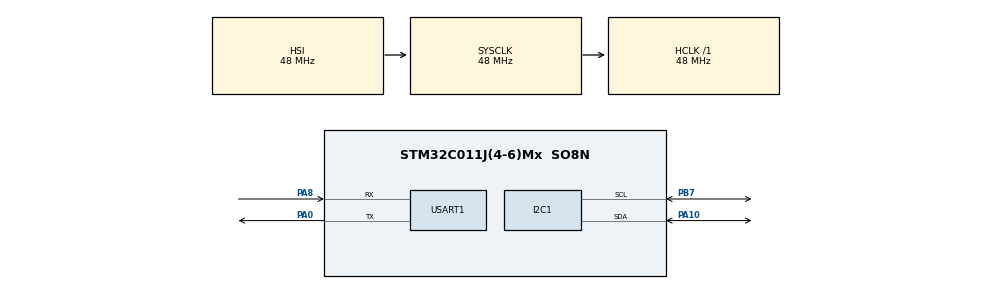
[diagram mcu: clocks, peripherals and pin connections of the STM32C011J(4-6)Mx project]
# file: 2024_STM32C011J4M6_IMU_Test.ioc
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I2C1.Timing=0x20303E5D
Mcu.Family=STM32C0
Mcu.Name=STM32C011J(4-6)Mx
Mcu.Package=SO8N
PA0.Mode=Asynchronous
PA0.Signal=USART1_TX
PA10\ [PA12].GPIO_Pu=GPIO_PULLUP
PA10\ [PA12].Mode=I2C
PA10\ [PA12].Signal=I2C1_SDA
PA13.Mode=Serial_Wire
PA13.Signal=DEBUG_SWDIO
PA14-BOOT0.Mode=Serial_Wire
PA14-BOOT0.Signal=DEBUG_SWCLK
PA8.Mode=Asynchronous
PA8.Signal=USART1_RX
PA8__PA11\ [PA9].StandardMode=true
PB7.GPIO_Pu=GPIO_PULLUP
PB7.Mode=I2C
PB7.Signal=I2C1_SCL
PC14-OSCX_IN\ (PC14)__PB7.StandardMode=true
PC15-OSCX_OUT\ (PC15)__PA14-BOOT0__PB6.StandardMode=true
PF2-NRST__PA0__PA1__PA2.StandardMode=true
ProjectManager.HeapSize=0x200
ProjectManager.StackSize=0x400
ProjectManager.TargetToolchain=STM32CubeIDE
RCC.ADCFreq_Value=48000000
RCC.AHBFreq_Value=48000000
RCC.CortexFreq_Value=48000000
RCC.EXTERNAL_CLOCK_VALUE=12288000
RCC.HCLKFreq_Value=48000000
RCC.HSE_VALUE=8000000
RCC.HSISYSCLKDivider=RCC_HSI_DIV1
RCC.HSI_VALUE=48000000
RCC.LSE_VALUE=32768
RCC.SYSCLKFreq_VALUE=48000000
USART1.DMADisableonRxErrorParam=ADVFEATURE_DMA_ENABLEONRXERROR
USART1.OverrunDisableParam=ADVFEATURE_OVERRUN_ENABLE
USART1.SwapParam=ADVFEATURE_SWAP_DISABLE
USART1.VirtualMode-Asynchronous=VM_ASYNC
VP_SYS_VS_PINREMAP_10_12.Mode=PINREMAP_10_12
board=custom

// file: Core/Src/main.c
/* USER CODE BEGIN Header */
/**
  ******************************************************************************
  * @file           : main.c
  * @brief          : Main program body
  ******************************************************************************
  * @attention
  *
  * Copyright (c) 2024 STMicroelectronics.
  * All rights reserved.
  *
  * This software is licensed under terms that can be found in the LICENSE file
  * in the root directory of this software component.
  * If no LICENSE file comes with this software, it is provided AS-IS.
  *
  ******************************************************************************
  */
/* USER CODE END Header */
#include "main.h"

/* USER CODE BEGIN Includes */
#include "ICM42605_Driver.h"
#include "stdio.h"  // for sprintf
/* USER CODE END Includes */

I2C_HandleTypeDef hi2c1;

UART_HandleTypeDef huart1;

/* USER CODE BEGIN PV */

/* IMU Variables */
uint8_t gData;
HAL_StatusTypeDef _gStatus;

uint8_t gRawData[14];

typedef struct
{
	uint16_t gTemp;
	uint16_t gAccel_X;
	uint16_t gAccel_Y;
	uint16_t gAccel_Z;
	uint16_t gGyro_X;
	uint16_t gGyro_Y;
	uint16_t gGyro_Z;
}RawData_Def;

RawData_Def gRawData_t;

/* ------------------- */

/* UART Variables */
#define BUFFER_SIZE 40
char gUART_MSG[BUFFER_SIZE];
int gSprintf_Len;
/* ------------------- */

/* USER CODE END PV */

void SystemClock_Config(void);
static void MX_GPIO_Init(void);
static void MX_USART1_UART_Init(void);
static void MX_I2C1_Init(void);

int main(void)
{

  /* MCU Configuration--------------------------------------------------------*/

  /* Reset of all peripherals, Initializes the Flash interface and the Systick. */
  HAL_Init();

  /* Configure the system clock */
  SystemClock_Config();

  /* Initialize all configured peripherals */
  MX_GPIO_Init();
  MX_USART1_UART_Init();
  MX_I2C1_Init();
  /* USER CODE BEGIN 2 */

  // ICM42605 Init
  if(HAL_I2C_IsDeviceReady(&hi2c1, (ICM42605_ADDRESS<<1), 1, 100) == HAL_OK) {
	  gSprintf_Len = sprintf(gUART_MSG, "IMU ON\r\n");
	  HAL_UART_Transmit(&huart1, (uint8_t *)gUART_MSG, gSprintf_Len, HAL_MAX_DELAY);
  }

  // Read Device ID
  HAL_I2C_Mem_Read(&hi2c1, (ICM42605_ADDRESS<<1), ICM42605_WHO_AM_I, 1, &gData, 1, 100);

  // Follow Procedure from Page 56
  // Turn Off Accel and Gyro
  gData = 0b00111111;
  _gStatus = HAL_I2C_Mem_Write(&hi2c1, (ICM42605_ADDRESS<<1), ICM42605_SENSOR_CONFIG0, 1, &gData, 1, 100);

  // Accel and Gyro Mode
  gData = 0b00001111;  // Low Noise Mode
  _gStatus = HAL_I2C_Mem_Write(&hi2c1, (ICM42605_ADDRESS<<1), ICM42605_PWR_MGMT0, 1, &gData, 1, 100);
  // minimum wait 200us (Page 73)
  HAL_Delay(1);

  // Enable data to FIFO
  gData = 0b01000111;
  _gStatus = HAL_I2C_Mem_Write(&hi2c1, (ICM42605_ADDRESS<<1), ICM42605_FIFO_CONFIG1, 1, &gData, 1, 100);

  // Turn On Accel and Gyro
  gData = 0b00000000;
  _gStatus = HAL_I2C_Mem_Write(&hi2c1, (ICM42605_ADDRESS<<1), ICM42605_SENSOR_CONFIG0, 1, &gData, 1, 100);

  /* USER CODE END 2 */

  /* Infinite loop */
  /* USER CODE BEGIN WHILE */
  while (1)
  {
	  HAL_I2C_Mem_Read(&hi2c1, (ICM42605_ADDRESS<<1), ICM42605_TEMP_DATA1, 1, gRawData, 14, 100);

	  gRawData_t.gTemp = (gRawData[0]<<8) | gRawData[1];  // Temp
	  gRawData_t.gAccel_X = (gRawData[2]<<8) | gRawData[3];  // Accel_X
	  gRawData_t.gAccel_Y = (gRawData[4]<<8) | gRawData[5];  // Accel_Y
	  gRawData_t.gAccel_Z = (gRawData[6]<<8) | gRawData[7];  // Accel_Z
	  gRawData_t.gGyro_X = (gRawData[8]<<8) | gRawData[9];  // Gyro_X
	  gRawData_t.gGyro_Y = (gRawData[10]<<8) | gRawData[11];  // Gyro_Y
	  gRawData_t.gGyro_Z = (gRawData[12]<<8) | gRawData[13];  // Gyro_Z

	  // Send Raw Data over UART
	  gSprintf_Len = sprintf(gUART_MSG, "%u,%u,%u,%u,%u,%u\r\n",
			  gRawData_t.gAccel_X, gRawData_t.gAccel_Y, gRawData_t.gAccel_Z,
			  gRawData_t.gGyro_X, gRawData_t.gGyro_Y, gRawData_t.gGyro_Z);

	  HAL_UART_Transmit(&huart1, (uint8_t *)gUART_MSG, gSprintf_Len, HAL_MAX_DELAY);

	  HAL_Delay(100);  // 100ms

    /* USER CODE END WHILE */

  }
}

void SystemClock_Config(void)
{
  RCC_OscInitTypeDef RCC_OscInitStruct = {0};
  RCC_ClkInitTypeDef RCC_ClkInitStruct = {0};

  /** Initializes the RCC Oscillators according to the specified parameters
  * in the RCC_OscInitTypeDef structure.
  */
  RCC_OscInitStruct.OscillatorType = RCC_OSCILLATORTYPE_HSI;
  RCC_OscInitStruct.HSIState = RCC_HSI_ON;
  RCC_OscInitStruct.HSIDiv = RCC_HSI_DIV1;
  RCC_OscInitStruct.HSICalibrationValue = RCC_HSICALIBRATION_DEFAULT;
  if (HAL_RCC_OscConfig(&RCC_OscInitStruct) != HAL_OK)
  {
    Error_Handler();
  }

  /** Initializes the CPU, AHB and APB buses clocks
  */
  RCC_ClkInitStruct.ClockType = RCC_CLOCKTYPE_HCLK|RCC_CLOCKTYPE_SYSCLK
                              |RCC_CLOCKTYPE_PCLK1;
  RCC_ClkInitStruct.SYSCLKSource = RCC_SYSCLKSOURCE_HSI;
  RCC_ClkInitStruct.SYSCLKDivider = RCC_SYSCLK_DIV1;
  RCC_ClkInitStruct.AHBCLKDivider = RCC_HCLK_DIV1;
  RCC_ClkInitStruct.APB1CLKDivider = RCC_APB1_DIV1;

  if (HAL_RCC_ClockConfig(&RCC_ClkInitStruct, FLASH_LATENCY_1) != HAL_OK)
  {
    Error_Handler();
  }
}

static void MX_I2C1_Init(void)
{

  hi2c1.Instance = I2C1;
  hi2c1.Init.Timing = 0x20303E5D;
  hi2c1.Init.OwnAddress1 = 0;
  hi2c1.Init.AddressingMode = I2C_ADDRESSINGMODE_7BIT;
  hi2c1.Init.DualAddressMode = I2C_DUALADDRESS_DISABLE;
  hi2c1.Init.OwnAddress2 = 0;
  hi2c1.Init.OwnAddress2Masks = I2C_OA2_NOMASK;
  hi2c1.Init.GeneralCallMode = I2C_GENERALCALL_DISABLE;
  hi2c1.Init.NoStretchMode = I2C_NOSTRETCH_DISABLE;
  if (HAL_I2C_Init(&hi2c1) != HAL_OK)
  {
    Error_Handler();
  }

  /** Configure Analogue filter
  */
  if (HAL_I2CEx_ConfigAnalogFilter(&hi2c1, I2C_ANALOGFILTER_ENABLE) != HAL_OK)
  {
    Error_Handler();
  }

  /** Configure Digital filter
  */
  if (HAL_I2CEx_ConfigDigitalFilter(&hi2c1, 0) != HAL_OK)
  {
    Error_Handler();
  }

}

static void MX_USART1_UART_Init(void)
{

  huart1.Instance = USART1;
  huart1.Init.BaudRate = 115200;
  huart1.Init.WordLength = UART_WORDLENGTH_8B;
  huart1.Init.StopBits = UART_STOPBITS_1;
  huart1.Init.Parity = UART_PARITY_NONE;
  huart1.Init.Mode = UART_MODE_TX_RX;
  huart1.Init.HwFlowCtl = UART_HWCONTROL_NONE;
  huart1.Init.OverSampling = UART_OVERSAMPLING_16;
  huart1.Init.OneBitSampling = UART_ONE_BIT_SAMPLE_DISABLE;
  huart1.Init.ClockPrescaler = UART_PRESCALER_DIV1;
  huart1.AdvancedInit.AdvFeatureInit = UART_ADVFEATURE_NO_INIT;
  if (HAL_UART_Init(&huart1) != HAL_OK)
  {
    Error_Handler();
  }
  if (HAL_UARTEx_SetTxFifoThreshold(&huart1, UART_TXFIFO_THRESHOLD_1_8) != HAL_OK)
  {
    Error_Handler();
  }
  if (HAL_UARTEx_SetRxFifoThreshold(&huart1, UART_RXFIFO_THRESHOLD_1_8) != HAL_OK)
  {
    Error_Handler();
  }
  if (HAL_UARTEx_DisableFifoMode(&huart1) != HAL_OK)
  {
    Error_Handler();
  }

}

static void MX_GPIO_Init(void)
{

  /* GPIO Ports Clock Enable */
  __HAL_RCC_GPIOB_CLK_ENABLE();
  __HAL_RCC_GPIOA_CLK_ENABLE();

}

void Error_Handler(void)
{
  __disable_irq();
  while (1)
  {
  }
}
